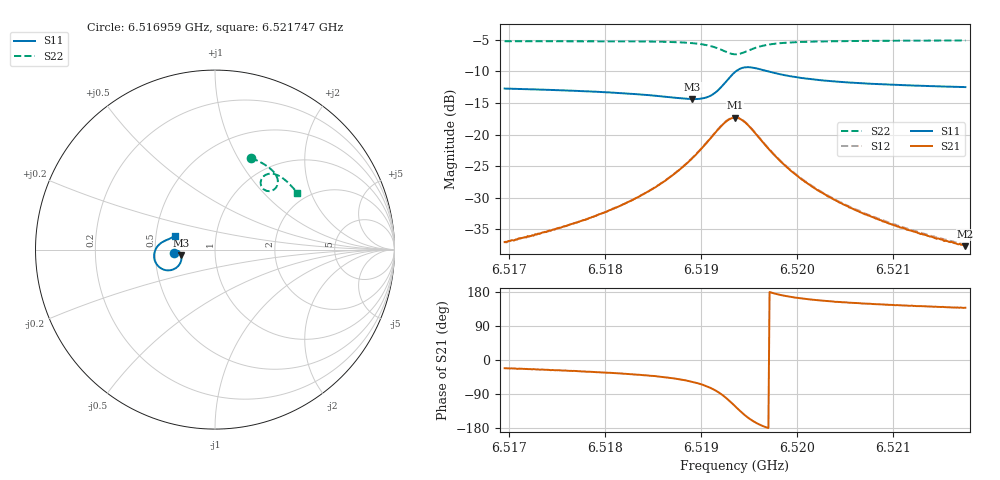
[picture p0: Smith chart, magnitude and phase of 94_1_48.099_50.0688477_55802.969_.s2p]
#  HZ  S  RI  R  50.00
! Rohde & Schwarz Vector Network Analyzer
! Rohde-Schwarz,ZNB20-2Port,1311601062101988,3.16
! Created: UTC 12/23/2023, 3:44:05 AM
! freq[Hz]  re:S11  im:S11  re:S21  im:S21  re:S12  im:S12  re:S22  im:S22
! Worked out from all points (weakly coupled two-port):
!   401 points, 6.516959 GHz to 6.521747 GHz, reference 50 ohm
!   highest |S21| = -17.31 dB at 6.519353 GHz (marker M1); lowest = -37.7 dB at 6.521747 GHz (marker M2)
!   lowest |S11| = -14.4 dB at 6.51891 GHz (marker M3), VSWR 1.47, Z = 34.1 - j2.3 ohm
!   |S11| at or under -10 dB: start of sweep to 6.519361 GHz; 6.5197 GHz to end of sweep
!   |S22| runs from -7.3 to -5.1 dB; largest |S21 - S12| = 0.0041
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6.5169587e9  -0.2307 -0.0181  0.0131 -0.00522  0.0132 -0.00475  0.2006 0.5103
6.5174375e9  -0.2254 -0.0112  0.0155 -0.00781  0.0158 -0.00722  0.236 0.4955
6.5177608e9  -0.2208 -0.00733  0.018 -0.0105  0.0183 -0.00985  0.2599 0.4832
6.5182157e9  -0.2117 -0.00527  0.023 -0.0169  0.0236 -0.0163  0.2941 0.462
6.5185629e9  -0.2015 -0.00974  0.0288 -0.0276  0.0299 -0.0269  0.321 0.4392
6.5187424e9  -0.1946 -0.0173  0.0326 -0.0382  0.0339 -0.0374  0.3349 0.4225
6.51891e9  -0.1882 -0.0325  0.0349 -0.0551  0.0368 -0.0543  0.3464 0.4008
6.5190297e9  -0.1872 -0.0524  0.0323 -0.0746  0.0348 -0.0741  0.3502 0.3783
6.5191135e9  -0.1927 -0.0728  0.0241 -0.0932  0.0272 -0.0933  0.3467 0.3585
6.5191854e9  -0.2072 -0.094  0.00799 -0.1114  0.0114 -0.1119  0.3353 0.3405
6.5192572e9  -0.2364 -0.1119  -0.0208 -0.1247  -0.0173 -0.1263  0.3131 0.3271
6.519353e9  -0.2932 -0.1085  -0.0717 -0.1158  -0.0689 -0.1187  0.2739 0.3342
6.5194128e9  -0.323 -0.0845  -0.0954 -0.0915  -0.0935 -0.095  0.2576 0.3547
6.5194727e9  -0.3373 -0.0529  -0.1049 -0.0625  -0.1037 -0.0661  0.2548 0.3785
6.5195685e9  -0.3351 -0.00944  -0.0982 -0.0257  -0.0981 -0.0288  0.2686 0.4065
6.5196762e9  -0.319 0.0198  -0.0811 -0.00334  -0.0816 -0.0058  0.2915 0.4202
6.5198917e9  -0.2897 0.0439  -0.054 0.0113  -0.0549 0.0097  0.3287 0.4213
6.5201551e9  -0.2684 0.054  -0.0361 0.0137  -0.0369 0.0128  0.3591 0.4094
6.5205023e9  -0.2523 0.0607  -0.0243 0.0129  -0.0249 0.0124  0.388 0.39
6.5209572e9  -0.2394 0.0676  -0.0162 0.0111  -0.0168 0.0109  0.4173 0.3629
6.5213762e9  -0.2309 0.0733  -0.0122 0.00978  -0.0125 0.00969  0.4403 0.3378
6.5217473e9  -0.2244 0.0784  -0.0097 0.00877  -0.0102 0.00889  0.4586 0.3147
